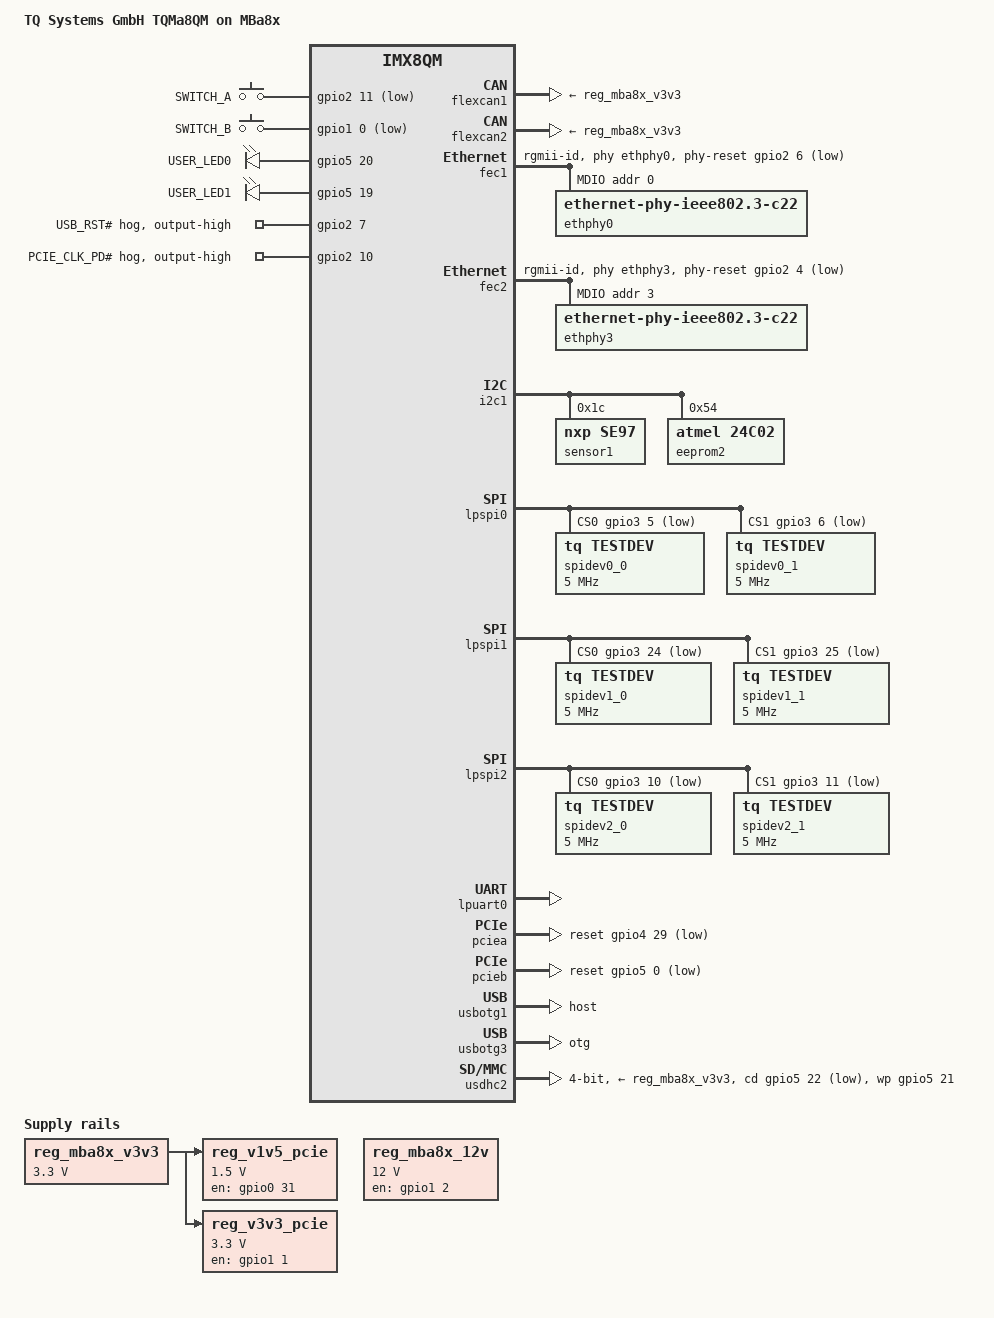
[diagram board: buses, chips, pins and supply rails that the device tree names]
/*
 * Copyright 2019 TQ Systems GmbH
 *
 * This program is free software; you can redistribute it and/or
 * modify it under the terms of the GNU General Public License
 * as published by the Free Software Foundation; either version 2
 * of the License, or (at your option) any later version.
 *
 * This program is distributed in the hope that it will be useful,
 * but WITHOUT ANY WARRANTY; without even the implied warranty of
 * MERCHANTABILITY or FITNESS FOR A PARTICULAR PURPOSE.  See the
 * GNU General Public License for more details.
 */

/dts-v1/;

#include <dt-bindings/net/ti-dp83867.h>

#include "fsl-imx8qm.dtsi"
#include "fsl-imx8qm-tqma8qm.dtsi"

/ {
	model = "TQ Systems GmbH TQMa8QM on MBa8x";
	compatible = "tq,tqma8qm-mba8x, tq,tqma8qm", "fsl,imx8qm";

	chosen {
		bootargs = "console=ttyLP0,115200 earlycon=lpuart32,0x5a060000,115200";
		stdout-path = &lpuart0;
	};

	reg_mba8x_v3v3: mba8x_v3v3 {
		compatible = "regulator-fixed";
		regulator-name = "MBa8x-V3V3";
		regulator-min-microvolt = <3300000>;
		regulator-max-microvolt = <3300000>;
		regulator-always-on;
	};

	reg_v1v5_pcie: v1v5_pcie {
		pinctrl-names = "default";
		pinctrl-0 = <&pinctrl_reg_pcie_v1v5>;
		compatible = "regulator-fixed";
		regulator-name = "V1V5_PCIE";
		regulator-min-microvolt = <1500000>;
		regulator-max-microvolt = <1500000>;
		vin-supply = <&reg_mba8x_v3v3>;
		enable-active-high;
		gpio = <&gpio0 31 0>;
	};

	reg_v3v3_pcie: v3v3_pcie {
		pinctrl-names = "default";
		pinctrl-0 = <&pinctrl_reg_pcie_v3v3>;
		compatible = "regulator-fixed";
		regulator-name = "V3V3_PCIE";
		regulator-min-microvolt = <3300000>;
		regulator-max-microvolt = <3300000>;
		vin-supply = <&reg_mba8x_v3v3>;
		enable-active-high;
		gpio = <&gpio1 1 0>;
	};

	reg_mba8x_12v: mba8x_12v {
		pinctrl-names = "default";
		pinctrl-0 = <&pinctrl_reg_mba8x_12v>;
		compatible = "regulator-fixed";
		regulator-name = "MBa8x-V12";
		regulator-min-microvolt = <12000000>;
		regulator-max-microvolt = <12000000>;
		enable-active-high;
		gpio = <&gpio1 2 0>;
	};

	keys {
		compatible = "gpio-keys";
		pinctrl-names = "default";
		pinctrl-0 = <&pinctrl_gpiokeys>;
		autorepeat;

		switch1 {
			label = "SWITCH_A";
			linux,code = <BTN_0>;
			gpios = <&gpio2 11 GPIO_ACTIVE_LOW>;
			wakeup-source;
		};

		switch2 {
			label = "SWITCH_B";
			linux,code = <BTN_1>;
			gpios = <&gpio1 0 GPIO_ACTIVE_LOW>;
			wakeup-source;
		};
	};

	leds {
		compatible = "gpio-leds";
		pinctrl-names = "default";
		pinctrl-0 = <&pinctrl_gpioled>;

		user-led0 {
			label = "USER_LED0";
			gpios = <&gpio5 20 GPIO_ACTIVE_HIGH>;
			linux,default-trigger = "heartbeat";
		};
		
		user-led1 {
			label = "USER_LED1";
			gpios = <&gpio5 19 GPIO_ACTIVE_HIGH>;
			default-state = "on";
		};
	};
};

&flexcan1 {
	pinctrl-names = "default";
	pinctrl-0 = <&pinctrl_flexcan1>;
	xceiver-supply = <&reg_mba8x_v3v3>;
	status = "okay";
};

&flexcan2 {
	pinctrl-names = "default";
	pinctrl-0 = <&pinctrl_flexcan2>;
	xceiver-supply = <&reg_mba8x_v3v3>;
	status = "okay";
};

&fec1 {
	pinctrl-names = "default";
	pinctrl-0 = <&pinctrl_fec1>;
	phy-mode = "rgmii-id";
	phy-handle = <&ethphy0>;
	phy-reset-gpios = <&gpio2 6 GPIO_ACTIVE_LOW>;
	phy-reset-duration = <500>;
	/* hacky: NXP starterkits share the mdio bus, we not */
	fsl,mii-exclusive;
	fsl,magic-packet;
/*
	fsl,rgmii_txc_dly;
	fsl,rgmii_rxc_dly;
*/
	mac-address = [ 00 00 00 00 00 00 ];
	local-mac-address = [ 00 00 00 00 00 00 ];
	status = "okay";

	mdio {
		#address-cells = <1>;
		#size-cells = <0>;

		ethphy0: ethernet-phy@0 {
			compatible = "ethernet-phy-ieee802.3-c22";
			reg = <0>;
			ti,rx-internal-delay = <DP83867_RGMIIDCTL_2_25_NS>;
			ti,tx-internal-delay = <DP83867_RGMIIDCTL_2_25_NS>;
			ti,dp83867-rxctrl-strap-quirk;
			ti,led-cfg1 = <0x0100>; /* LED0: Link, LED2: activity */
			ti,led-cfg2 = <0x1414>; /* active low, LED0/2 driven by phy */
		};
	};
};

&fec2 {
	pinctrl-names = "default";
	pinctrl-0 = <&pinctrl_fec2>;
	phy-mode = "rgmii-id";
	phy-handle = <&ethphy3>;
	phy-reset-gpios = <&gpio2 4 GPIO_ACTIVE_LOW>;
	phy-reset-duration = <500>;
	/* hacky: NXP starterkits share the mdio bus, we not */
	fsl,mii-exclusive;
	fsl,magic-packet;
	mac-address = [ 00 00 00 00 00 00 ];
	local-mac-address = [ 00 00 00 00 00 00 ];
	status = "okay";

	mdio {
		#address-cells = <1>;
		#size-cells = <0>;

		ethphy3: ethernet-phy@3 {
			compatible = "ethernet-phy-ieee802.3-c22";
			reg = <3>;
			ti,rx-internal-delay = <DP83867_RGMIIDCTL_2_25_NS>;
			ti,tx-internal-delay = <DP83867_RGMIIDCTL_2_25_NS>;
			ti,dp83867-rxctrl-strap-quirk;
			ti,led-cfg1 = <0x0100>; /* LED0: Link, LED2: activity */
			ti,led-cfg2 = <0x1414>; /* active low, LED0/2 driven by phy */
		};
	};
};

&gpio1 {
	/* enable wakeup for gpio-key for gpio1 line 0 (SWITCH_B)*/
	pad-wakeup-num = <1>;
	pad-wakeup = <SC_P_SCU_GPIO0_04 4 0>;
};

&gpio2 {
	/* enable wakeup for gpio-key for gpio2 line 11 (SWITCH_A)*/
	pad-wakeup-num = <1>;
	pad-wakeup = <SC_P_ESAI1_TX3_RX2 4 11>;
	
	usb-rst {
		gpio-hog;
		gpios = <7 0>;
		output-high;
		line-name = "USB_RST#";
	};

	/*
	 * force PD# input of PCIe clock generator high
	 * TODO: should better be used as gpio driven clock gate
	 * has to chaeck against SCU firmware if possible.
	 */
	pcie-clk-pd {
		gpio-hog;
		gpios = <10 0>;
		output-high;
		line-name = "PCIE_CLK_PD#";
	};
};

&i2c1 {
	sensor1: jc42@1c {
		compatible = "nxp,se97", "jedec,jc-42.4-temp";
		reg = <0x1c>;
		status = "okay";
	};

	eeprom2: 24c02@54 {
		compatible = "atmel,24c02";
		reg = <0x54>;
		pagesize = <16>;
		status = "okay";
	};
};

&iomuxc {
	pinctrl-names = "default";
	pinctrl-0 = <&pinctrl_hog>;

	pinctrl_fec1: fec1grp {
		fsl,pins = <
			SC_P_ESAI1_SCKR_LSIO_GPIO2_IO06			0x000014a0
/*			SC_P_COMP_CTL_GPIO_1V8_3V3_ENET_ENETB_PAD	0x000014a0 */
			SC_P_ENET0_MDC_CONN_ENET0_MDC			0x06000020
			SC_P_ENET0_MDIO_CONN_ENET0_MDIO			0x06000020
			SC_P_ENET0_RGMII_TX_CTL_CONN_ENET0_RGMII_TX_CTL	0x00000060
			SC_P_ENET0_RGMII_TXC_CONN_ENET0_RGMII_TXC	0x00000060
			SC_P_ENET0_RGMII_TXD0_CONN_ENET0_RGMII_TXD0	0x00000060
			SC_P_ENET0_RGMII_TXD1_CONN_ENET0_RGMII_TXD1	0x00000060
			SC_P_ENET0_RGMII_TXD2_CONN_ENET0_RGMII_TXD2	0x00000060
			SC_P_ENET0_RGMII_TXD3_CONN_ENET0_RGMII_TXD3	0x00000060
			SC_P_ENET0_RGMII_RXC_CONN_ENET0_RGMII_RXC	0x00000060
			SC_P_ENET0_RGMII_RX_CTL_CONN_ENET0_RGMII_RX_CTL	0x00000060
			SC_P_ENET0_RGMII_RXD0_CONN_ENET0_RGMII_RXD0	0x00000060
			SC_P_ENET0_RGMII_RXD1_CONN_ENET0_RGMII_RXD1	0x00000060
			SC_P_ENET0_RGMII_RXD2_CONN_ENET0_RGMII_RXD2	0x00000060
			SC_P_ENET0_RGMII_RXD3_CONN_ENET0_RGMII_RXD3	0x00000060
/*			SC_P_ENET0_REFCLK_125M_25M			0x00000060 */
		>;
	};

	pinctrl_fec2: fec2grp {
		fsl,pins = <
/*			SC_P_COMP_CTL_GPIO_1V8_3V3_ENET_ENETA_PAD	0x000014a0 */
			SC_P_ESAI1_FSR_LSIO_GPIO2_IO04			0x000014a0
			SC_P_ENET1_MDC_CONN_ENET1_MDC			0x06000020
			SC_P_ENET1_MDIO_CONN_ENET1_MDIO			0x06000020
			SC_P_ENET1_RGMII_TX_CTL_CONN_ENET1_RGMII_TX_CTL	0x00000060
			SC_P_ENET1_RGMII_TXC_CONN_ENET1_RGMII_TXC	0x00000060
			SC_P_ENET1_RGMII_TXD0_CONN_ENET1_RGMII_TXD0	0x00000060
			SC_P_ENET1_RGMII_TXD1_CONN_ENET1_RGMII_TXD1	0x00000060
			SC_P_ENET1_RGMII_TXD2_CONN_ENET1_RGMII_TXD2	0x00000060
			SC_P_ENET1_RGMII_TXD3_CONN_ENET1_RGMII_TXD3	0x00000060
			SC_P_ENET1_RGMII_RXC_CONN_ENET1_RGMII_RXC	0x00000060
			SC_P_ENET1_RGMII_RX_CTL_CONN_ENET1_RGMII_RX_CTL	0x00000060
			SC_P_ENET1_RGMII_RXD0_CONN_ENET1_RGMII_RXD0	0x00000060
			SC_P_ENET1_RGMII_RXD1_CONN_ENET1_RGMII_RXD1	0x00000060
			SC_P_ENET1_RGMII_RXD2_CONN_ENET1_RGMII_RXD2	0x00000060
			SC_P_ENET1_RGMII_RXD3_CONN_ENET1_RGMII_RXD3	0x00000060
/*			SC_P_ENET1_REFCLK_125M_25M			0x00000060 */
		>;
	};

	pinctrl_hog: hoggrp {
		fsl,pins = <
			SC_P_ESAI1_SCKT_LSIO_GPIO2_IO07		0x00000021
			/* PCIE_CLK_PD# */
			SC_P_ESAI1_TX2_RX3_LSIO_GPIO2_IO10	0x00000021
		>;
	};

	pinctrl_pciea: pcieagrp {
		fsl,pins = <
			 /* PCIE_DISABLE */
			SC_P_ESAI1_FST_LSIO_GPIO2_IO05			0x00000021
			SC_P_PCIE_CTRL0_PERST_B_LSIO_GPIO4_IO29		0x06000021
			SC_P_PCIE_CTRL0_CLKREQ_B_LSIO_GPIO4_IO27	0x06000021
			SC_P_PCIE_CTRL0_WAKE_B_LSIO_GPIO4_IO28		0x04000021
		>;
	};

	pinctrl_flexcan1: flexcan0grp {
		fsl,pins = <
			SC_P_FLEXCAN0_TX_DMA_FLEXCAN0_TX        0x21
			SC_P_FLEXCAN0_RX_DMA_FLEXCAN0_RX        0x21
		>;
	};

	pinctrl_flexcan2: flexcan1grp {
		fsl,pins = <
			SC_P_FLEXCAN1_TX_DMA_FLEXCAN1_TX        0x21
			SC_P_FLEXCAN1_RX_DMA_FLEXCAN1_RX        0x21
		>;
	};

	pinctrl_gpiokeys: gpiokeys {
		fsl,pins = <
			SC_P_ESAI1_TX3_RX2_LSIO_GPIO2_IO11		0x00000021
			SC_P_SCU_GPIO0_04_LSIO_GPIO1_IO00		0x00000021
		>;
	};

	pinctrl_gpioled: gpioledgrp {
		fsl,pins = <
			SC_P_USDHC1_DATA4_LSIO_GPIO5_IO19		0x00000021
			SC_P_USDHC1_DATA5_LSIO_GPIO5_IO20		0x00000021
		>;
	};

	pinctrl_pcieb: pciebgrp {
		fsl,pins = <
			SC_P_PCIE_CTRL1_PERST_B_LSIO_GPIO5_IO00		0x06000021
			SC_P_PCIE_CTRL1_CLKREQ_B_LSIO_GPIO4_IO30	0x06000021
			SC_P_PCIE_CTRL1_WAKE_B_LSIO_GPIO4_IO31		0x04000021
		>;
	};

	pinctrl_lpspi0: lpspi0grp {
		fsl,pins = <
			SC_P_SPI0_SCK_DMA_SPI0_SCK	0x0600004c
			SC_P_SPI0_SDO_DMA_SPI0_SDO	0x0600004c
			SC_P_SPI0_SDI_DMA_SPI0_SDI	0x0600004c
		>;
	};

	pinctrl_lpspi0_cs: lpspi0cs {
		fsl,pins = <
			SC_P_SPI0_CS0_LSIO_GPIO3_IO05	0x00000021
			SC_P_SPI0_CS1_LSIO_GPIO3_IO06	0x00000021
		>;
	};

	pinctrl_lpspi1: lpspi1grp {
		fsl,pins = <
			SC_P_ADC_IN3_DMA_SPI1_SCK	0x0600004c
			SC_P_ADC_IN4_DMA_SPI1_SDO	0x0600004c
			SC_P_ADC_IN5_DMA_SPI1_SDI	0x0600004c
		>;
	};

	pinctrl_lpspi1_cs: lpspi1cs {
		fsl,pins = <
			SC_P_ADC_IN6_LSIO_GPIO3_IO24	0x00000021
			SC_P_ADC_IN7_LSIO_GPIO3_IO25	0x00000021
		>;
	};

	pinctrl_lpspi2: lpspi2grp {
		fsl,pins = <
			SC_P_SPI2_SCK_DMA_SPI2_SCK	0x0600004c
			SC_P_SPI2_SDO_DMA_SPI2_SDO	0x0600004c
			SC_P_SPI2_SDI_DMA_SPI2_SDI	0x0600004c
		>;
	};

	pinctrl_lpspi2_cs: lpspi02s {
		fsl,pins = <
			SC_P_SPI2_CS0_LSIO_GPIO3_IO10	0x00000021
			SC_P_SPI2_CS1_LSIO_GPIO3_IO11	0x00000021
		>;
	};

	pinctrl_lpuart0: lpuart0grp {
		fsl,pins = <
			SC_P_UART0_RX_DMA_UART0_RX		0x06000020
			SC_P_UART0_TX_DMA_UART0_TX		0x06000020
			SC_P_UART0_CTS_B_DMA_UART0_CTS_B	0x00000021
			SC_P_UART0_RTS_B_DMA_UART0_RTS_B	0x00000021
		>;
	};

	pinctrl_reg_pcie_v1v5: regpcie1v5grp {
		fsl,pins = <
			SC_P_SCU_GPIO0_03_LSIO_GPIO0_IO31	0x00000021
		>;
	};

	pinctrl_reg_pcie_v3v3: regpcie3v3grp {
		fsl,pins = <
			SC_P_SCU_GPIO0_05_LSIO_GPIO1_IO01	0x00000021
		>;
	};

	pinctrl_reg_mba8x_12v: mba12vgrp {
		fsl,pins = <
			SC_P_SCU_GPIO0_06_LSIO_GPIO1_IO02	0x00000021
		>;
	};

	pinctrl_usb2: usb2grp {
		fsl,pins = <
			SC_P_USB_SS3_TC1_CONN_USB_OTG2_PWR	0x00000021
			SC_P_USB_SS3_TC3_CONN_USB_OTG2_OC	0x00000021
		>;
	};

	pinctrl_usdhc2_gpio: usdhc2grpgpio {
		fsl,pins = <
			SC_P_USDHC1_DATA6_LSIO_GPIO5_IO21	0x00000021
			SC_P_USDHC1_DATA7_LSIO_GPIO5_IO22	0x00000021
			SC_P_USDHC1_RESET_B_LSIO_GPIO4_IO07	0x00000021
		>;
	};

	pinctrl_usdhc2: usdhc2grp {
		fsl,pins = <
			SC_P_USDHC1_CLK_CONN_USDHC1_CLK		0x06000041
			SC_P_USDHC1_CMD_CONN_USDHC1_CMD		0x00000021
			SC_P_USDHC1_DATA0_CONN_USDHC1_DATA0	0x00000021
			SC_P_USDHC1_DATA1_CONN_USDHC1_DATA1	0x00000021
			SC_P_USDHC1_DATA2_CONN_USDHC1_DATA2	0x00000021
			SC_P_USDHC1_DATA3_CONN_USDHC1_DATA3	0x00000021
			SC_P_USDHC1_VSELECT_CONN_USDHC1_VSELECT	0x00000021
		>;
	};

	pinctrl_usdhc2_100mhz: usdhc2grp100mhz {
		fsl,pins = <
			SC_P_USDHC1_CLK_CONN_USDHC1_CLK		0x06000040
			SC_P_USDHC1_CMD_CONN_USDHC1_CMD		0x00000021
			SC_P_USDHC1_DATA0_CONN_USDHC1_DATA0	0x00000021
			SC_P_USDHC1_DATA1_CONN_USDHC1_DATA1	0x00000021
			SC_P_USDHC1_DATA2_CONN_USDHC1_DATA2	0x00000021
			SC_P_USDHC1_DATA3_CONN_USDHC1_DATA3	0x00000021
			SC_P_USDHC1_VSELECT_CONN_USDHC1_VSELECT	0x00000020
		>;
	};

	pinctrl_usdhc2_200mhz: usdhc2grp200mhz {
		fsl,pins = <
			SC_P_USDHC1_CLK_CONN_USDHC1_CLK		0x06000040
			SC_P_USDHC1_CMD_CONN_USDHC1_CMD		0x00000021
			SC_P_USDHC1_DATA0_CONN_USDHC1_DATA0	0x00000021
			SC_P_USDHC1_DATA1_CONN_USDHC1_DATA1	0x00000021
			SC_P_USDHC1_DATA2_CONN_USDHC1_DATA2	0x00000021
			SC_P_USDHC1_DATA3_CONN_USDHC1_DATA3	0x00000021
			SC_P_USDHC1_VSELECT_CONN_USDHC1_VSELECT	0x00000020
		>;
	};
};

&lpspi0 {
	#address-cells = <1>;
	#size-cells = <0>;
	pinctrl-names = "default";
	pinctrl-0 = <&pinctrl_lpspi0 &pinctrl_lpspi0_cs>;
	fsl,spi-num-chipselects = <2>;
	cs-gpios = <&gpio3 5 GPIO_ACTIVE_LOW>, <&gpio3 6 GPIO_ACTIVE_LOW>;
	status = "okay";

	spidev0_0: spidev0@0 {
		reg = <0>;
		compatible = "tq,testdev";
		spi-max-frequency = <5000000>;
		status = "okay";
	};

	spidev0_1: spidev0@1 {
		reg = <1>;
		compatible = "tq,testdev";
		spi-max-frequency = <5000000>;
		status = "okay";
	};
};

&lpspi1 {
	#address-cells = <1>;
	#size-cells = <0>;
	pinctrl-names = "default";
	pinctrl-0 = <&pinctrl_lpspi1 &pinctrl_lpspi1_cs>;
	fsl,spi-num-chipselects = <2>;
	cs-gpios = <&gpio3 24 GPIO_ACTIVE_LOW>, <&gpio3 25 GPIO_ACTIVE_LOW>;
	status = "okay";

	spidev1_0: spidev1@0 {
		reg = <0>;
		compatible = "tq,testdev";
		spi-max-frequency = <5000000>;
		status = "okay";
	};

	spidev1_1: spidev1@1 {
		reg = <1>;
		compatible = "tq,testdev";
		spi-max-frequency = <5000000>;
		status = "okay";
	};
};

&lpspi2 {
	#address-cells = <1>;
	#size-cells = <0>;
	pinctrl-names = "default";
	pinctrl-0 = <&pinctrl_lpspi2 &pinctrl_lpspi2_cs>;
	fsl,spi-num-chipselects = <2>;
	cs-gpios = <&gpio3 10 GPIO_ACTIVE_LOW>, <&gpio3 11 GPIO_ACTIVE_LOW>;
	status = "okay";

	spidev2_0: spidev2@0 {
		reg = <0>;
		compatible = "tq,testdev";
		spi-max-frequency = <5000000>;
		status = "okay";
	};

	spidev2_1: spidev2@1 {
		reg = <1>;
		compatible = "tq,testdev";
		spi-max-frequency = <5000000>;
		status = "okay";
	};
};

&lpuart0 { /* console */
	pinctrl-names = "default";
	pinctrl-0 = <&pinctrl_lpuart0>;
	status = "okay";
};

&pciea {
	ext_osc = <1>;
	pinctrl-names = "default";
	pinctrl-0 = <&pinctrl_pciea>;
	disable-gpio = <&gpio2 5 GPIO_ACTIVE_LOW>;
	reset-gpio = <&gpio4 29 GPIO_ACTIVE_LOW>;
/* TODO: optional, currently without functionality */
/*	clkreq-gpio = <&gpio4 27 GPIO_ACTIVE_LOW>; */
	epdev_on-supply = <&reg_v3v3_pcie>;
	vpcie-supply = <&reg_v1v5_pcie>;
	status = "okay";
};

&pcieb {
	ext_osc = <1>;
	pinctrl-names = "default";
	pinctrl-0 = <&pinctrl_pcieb>;
	reset-gpio = <&gpio5 0 GPIO_ACTIVE_LOW>;
/* TODO: optional, currently without functionality */
/*	clkreq-gpio = <&gpio4 30 GPIO_ACTIVE_LOW>; */
	epdev_on-supply = <&reg_mba8x_v3v3>;
	status = "okay";
};

/* HSIC not used on MBa8x */
&usbmisc2 {
	status = "disabled";
};

&usbotg1 {
	srp-disable;
	hnp-disable;
	adp-disable;
	dr_mode = "host";
	disable-over-current;
	status = "okay";
};

&usbotg3 {
	pinctrl-names = "default";
	pinctrl-0 = <&pinctrl_usb2>;
	dr_mode = "otg";
	status = "okay";
};

&usbphynop2 {
	status = "disabled";
};

&usdhc2 {
	pinctrl-names = "default", "state_100mhz", "state_200mhz";
	pinctrl-0 = <&pinctrl_usdhc2>, <&pinctrl_usdhc2_gpio>;
	pinctrl-1 = <&pinctrl_usdhc2_100mhz>, <&pinctrl_usdhc2_gpio>;
	pinctrl-2 = <&pinctrl_usdhc2_200mhz>, <&pinctrl_usdhc2_gpio>;
	bus-width = <4>;
	cd-gpios = <&gpio5 22 GPIO_ACTIVE_LOW>;
	wp-gpios = <&gpio5 21 GPIO_ACTIVE_HIGH>;
	vmmc-supply = <&reg_mba8x_v3v3>;
	status = "okay";
};
